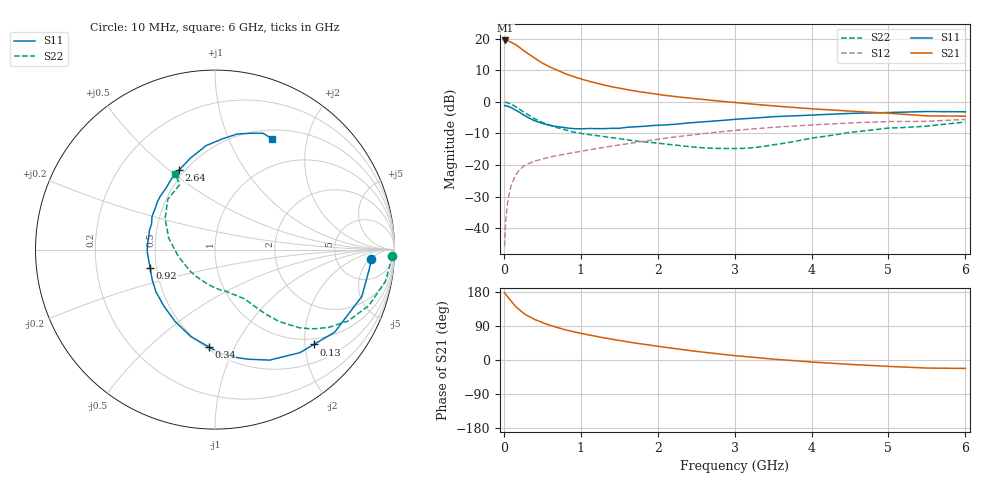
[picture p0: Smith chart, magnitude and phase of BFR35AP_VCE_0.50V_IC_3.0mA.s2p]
! Infineon Technologies  Discrete & RF Semiconductors
! BFR35AP
! VCE = 0.50 V,  IC =  3.0 mA
! Common Emitter S-Parameters:  Nov 2015
# GHz  S  MA  R  50
!  f  S11  S21  S12  S22
! GHz  MAG  ANG  MAG  ANG  MAG  ANG  MAG  ANG
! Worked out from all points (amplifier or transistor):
!   210 points, 10 MHz to 6 GHz, reference 50 ohm
!   highest |S21| = 19.4 dB at 20 MHz (marker M1)
!   |S21| within 3 dB of that: start of sweep to 245.5 MHz
!   unconditionally stable (mu >= 1): 830.3 MHz to end of sweep
!   at 185 MHz: K = 0.31, MSG = 19.8 dB, |S12| = -22.1 dB
!   at 1.52 GHz: K = 1.24, MAG = 6.0 dB, |S12| = -13.6 dB
!   at 6 GHz: K = 1.09, MAG = -1.3 dB, |S12| = -5.6 dB
!   S11 on the Smith chart (normalised r, x): 10 MHz: 12, -6; 130 MHz: 0.87, -2.20; 340 MHz: 0.52, -0.79; 920 MHz: 0.46, -0.11; 2.64 GHz: 0.47, +0.54; 6 GHz: 0.61, +1.46
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0.01  0.8725 -3.6  9.272 177.6  0.0052 85.3  0.9883 -2.0
0.02  0.8663 -7.3  9.341 174.4  0.0105 84.9  0.9812 -4.2
0.05  0.8587 -17.7  9.307 166.4  0.0259 80.2  0.9659 -10.6
0.1  0.8101 -34.6  8.705 154.1  0.0494 70.9  0.9122 -20.0
0.13  0.7633 -43.8  8.28 146.9  0.0605 65.2  0.8677 -24.8
0.15  0.7441 -50.5  8.074 141.8  0.0681 62.5  0.8416 -28.2
0.2  0.6869 -63.7  7.311 132.6  0.0828 56.8  0.7674 -34.4
0.26  0.6174 -77.7  6.418 123.2  0.0959 51.4  0.6874 -39.9
0.3  0.5801 -86.9  5.935 117.5  0.103 49.0  0.641 -42.8
0.34  0.5429 -93.7  5.505 113.8  0.1077 47.2  0.6 -44.7
0.4  0.5037 -105.4  4.913 107.0  0.115 44.7  0.5401 -48.1
0.5  0.4577 -119.1  4.096 98.5  0.1243 42.2  0.4706 -51.2
0.6  0.4242 -132.3  3.548 91.3  0.1337 41.2  0.425 -53.2
0.92  0.376 -164.5  2.47 74.0  0.1584 41.1  0.3296 -58.3
1.02  0.3742 -172.4  2.264 69.6  0.166 40.9  0.3141 -59.8
1.4  0.3809 163.1  1.729 55.1  0.1984 40.8  0.2715 -67.5
2.02  0.4269 135.0  1.302 35.7  0.2574 39.0  0.22 -85.6
2.64  0.4868 114.3  1.071 19.6  0.3181 34.0  0.1854 -115.4
3.1  0.5368 102.9  0.951 9.8  0.3608 28.7  0.1832 -145.2
4.1  0.624 84.9  0.762 -6.5  0.4372 16.5  0.2762 161.7
5.1  0.6813 72.0  0.647 -17.7  0.4871 3.8  0.3877 130.1
6  0.6945 62.8  0.593 -22.2  0.5253 -5.1  0.4783 117.9
